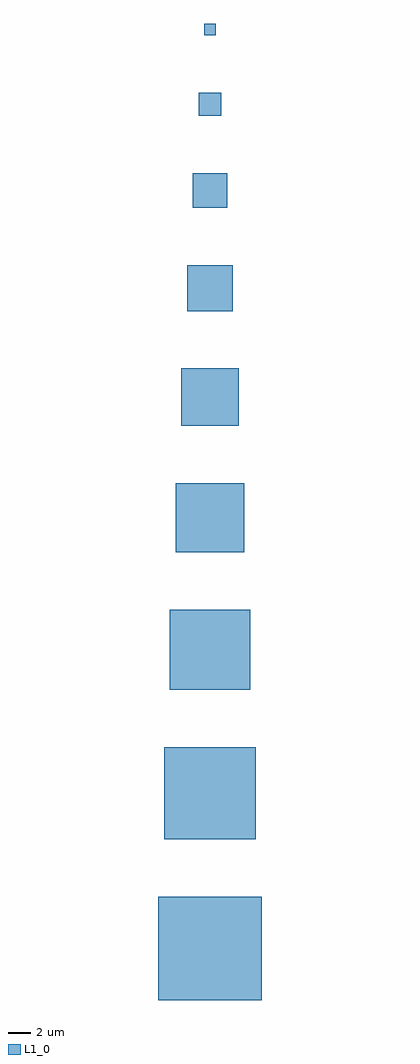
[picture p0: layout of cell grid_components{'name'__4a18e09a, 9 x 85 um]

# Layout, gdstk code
import gdstk
lib = gdstk.Library(unit=1e-6, precision=1e-09)
def R(c, l, rs):  # rectangles x0, y0, x1, y1
    for r in rs: c.add(gdstk.rectangle(r[:2], r[2:], *l))
L1_0 = (1, 0)

compass_size1p0__1p0 = lib.new_cell('compass_size1p0__1p0')
R(compass_size1p0__1p0, L1_0, [(-0.5,-0.5,0.5,0.5)])

rectangle_size1__1 = lib.new_cell('rectangle_size1__1')
rectangle_size1__1.add(gdstk.Reference(compass_size1p0__1p0, (0.5,0.5)))

compass_size2p0__2p0 = lib.new_cell('compass_size2p0__2p0')
R(compass_size2p0__2p0, L1_0, [(-1,-1,1,1)])

rectangle_size2__2 = lib.new_cell('rectangle_size2__2')
rectangle_size2__2.add(gdstk.Reference(compass_size2p0__2p0, (1,1)))

compass_size3p0__3p0 = lib.new_cell('compass_size3p0__3p0')
R(compass_size3p0__3p0, L1_0, [(-1.5,-1.5,1.5,1.5)])

rectangle_size3__3 = lib.new_cell('rectangle_size3__3')
rectangle_size3__3.add(gdstk.Reference(compass_size3p0__3p0, (1.5,1.5)))

compass_size4p0__4p0 = lib.new_cell('compass_size4p0__4p0')
R(compass_size4p0__4p0, L1_0, [(-2,-2,2,2)])

rectangle_size4__4 = lib.new_cell('rectangle_size4__4')
rectangle_size4__4.add(gdstk.Reference(compass_size4p0__4p0, (2,2)))

compass_size5p0__5p0 = lib.new_cell('compass_size5p0__5p0')
R(compass_size5p0__5p0, L1_0, [(-2.5,-2.5,2.5,2.5)])

rectangle_size5__5 = lib.new_cell('rectangle_size5__5')
rectangle_size5__5.add(gdstk.Reference(compass_size5p0__5p0, (2.5,2.5)))

compass_size6p0__6p0 = lib.new_cell('compass_size6p0__6p0')
R(compass_size6p0__6p0, L1_0, [(-3,-3,3,3)])

rectangle_size6__6 = lib.new_cell('rectangle_size6__6')
rectangle_size6__6.add(gdstk.Reference(compass_size6p0__6p0, (3,3)))

compass_size7p0__7p0 = lib.new_cell('compass_size7p0__7p0')
R(compass_size7p0__7p0, L1_0, [(-3.5,-3.5,3.5,3.5)])

rectangle_size7__7 = lib.new_cell('rectangle_size7__7')
rectangle_size7__7.add(gdstk.Reference(compass_size7p0__7p0, (3.5,3.5)))

compass_size8p0__8p0 = lib.new_cell('compass_size8p0__8p0')
R(compass_size8p0__8p0, L1_0, [(-4,-4,4,4)])

rectangle_size8__8 = lib.new_cell('rectangle_size8__8')
rectangle_size8__8.add(gdstk.Reference(compass_size8p0__8p0, (4,4)))

compass_size9p0__9p0 = lib.new_cell('compass_size9p0__9p0')
R(compass_size9p0__9p0, L1_0, [(-4.5,-4.5,4.5,4.5)])

rectangle_size9__9 = lib.new_cell('rectangle_size9__9')
rectangle_size9__9.add(gdstk.Reference(compass_size9p0__9p0, (4.5,4.5)))

grid_components__name___ = lib.new_cell("grid_components{'name'__4a18e09a")
grid_components__name___.add(gdstk.Reference(rectangle_size1__1, (4,84)))
grid_components__name___.add(gdstk.Reference(rectangle_size2__2, (3.5,77)))
grid_components__name___.add(gdstk.Reference(rectangle_size3__3, (3,69)))
grid_components__name___.add(gdstk.Reference(rectangle_size4__4, (2.5,60)))
grid_components__name___.add(gdstk.Reference(rectangle_size5__5, (2,50)))
grid_components__name___.add(gdstk.Reference(rectangle_size6__6, (1.5,39)))
grid_components__name___.add(gdstk.Reference(rectangle_size7__7, (1,27)))
grid_components__name___.add(gdstk.Reference(rectangle_size8__8, (0.5,14)))
grid_components__name___.add(gdstk.Reference(rectangle_size9__9, (0,0)))

lib.write_gds('grid_components__name___4a18e09a.gds')
